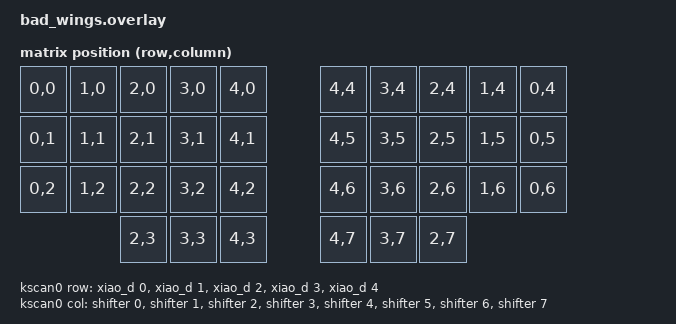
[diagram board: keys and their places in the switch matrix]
/*
 * Copyright (c) 2022 The ZMK Contributors
 *
 * SPDX-License-Identifier: MIT
 */

#include <dt-bindings/zmk/matrix_transform.h>

&xiao_serial { status = "disabled"; };

&xiao_spi {
    status = "okay";
    cs-gpios = <&xiao_d 6 GPIO_ACTIVE_LOW>;
    shifter: 595@0 {
        compatible = "zmk,gpio-595";
        status = "okay";
        gpio-controller;
        spi-max-frequency = <200000>;
        reg = <0>;
        label = "74HC595";
        #gpio-cells = <2>;
        ngpios = <8>;
    };
};

/ {
    chosen {
        zmk,kscan = &kscan0;
        zmk,matrix_transform = &default_transform;
    };

    default_transform: keymap_transform_0 {
        compatible = "zmk,matrix-transform";
        columns = <8>;
        rows = <5>;

        map = <
            RC(0,0) RC(1,0) RC(2,0) RC(3,0) RC(4,0) RC(4,4) RC(3,4) RC(2,4) RC(1,4) RC(0,4)
            RC(0,1) RC(1,1) RC(2,1) RC(3,1) RC(4,1) RC(4,5) RC(3,5) RC(2,5) RC(1,5) RC(0,5)
            RC(0,2) RC(1,2) RC(2,2) RC(3,2) RC(4,2) RC(4,6) RC(3,6) RC(2,6) RC(1,6) RC(0,6)
                            RC(2,3) RC(3,3) RC(4,3) RC(4,7) RC(3,7) RC(2,7)
        >;
    };

    kscan0: kscan_0 {        
        compatible = "zmk,kscan-gpio-matrix";
        label = "KSCAN";
        diode-direction = "col2row";

        col-gpios
            = <&shifter 0 GPIO_ACTIVE_HIGH>
            , <&shifter 1 GPIO_ACTIVE_HIGH>
            , <&shifter 2 GPIO_ACTIVE_HIGH>
            , <&shifter 3 GPIO_ACTIVE_HIGH>
            , <&shifter 4 GPIO_ACTIVE_HIGH>
            , <&shifter 5 GPIO_ACTIVE_HIGH>
            , <&shifter 6 GPIO_ACTIVE_HIGH>
            , <&shifter 7 GPIO_ACTIVE_HIGH>
            ;

        row-gpios
            = <&xiao_d 0 (GPIO_ACTIVE_HIGH | GPIO_PULL_DOWN)>
            , <&xiao_d 1 (GPIO_ACTIVE_HIGH | GPIO_PULL_DOWN)>
            , <&xiao_d 2 (GPIO_ACTIVE_HIGH | GPIO_PULL_DOWN)>
            , <&xiao_d 3 (GPIO_ACTIVE_HIGH | GPIO_PULL_DOWN)>
            , <&xiao_d 4 (GPIO_ACTIVE_HIGH | GPIO_PULL_DOWN)>
            ;
    };
};
